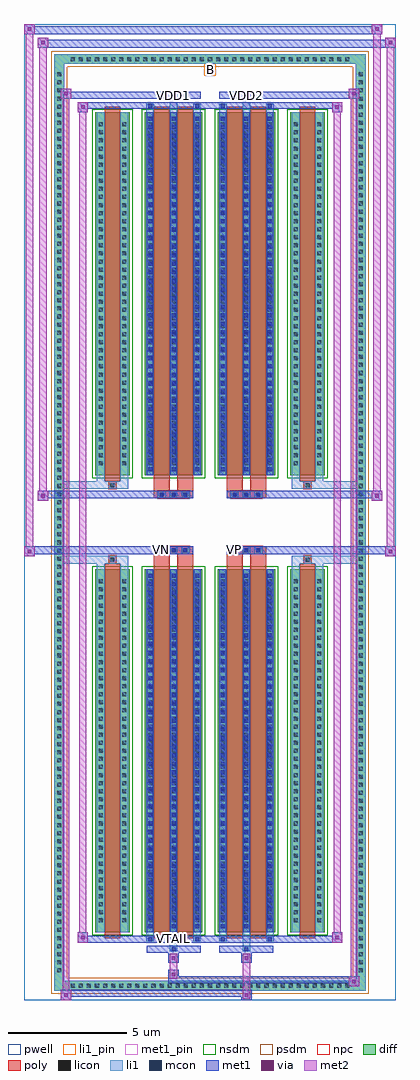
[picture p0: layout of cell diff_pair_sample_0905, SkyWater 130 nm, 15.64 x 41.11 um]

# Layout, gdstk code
import gdstk
lib = gdstk.Library(unit=1e-6, precision=5e-09)
def R(c, l, rs):  # rectangles x0, y0, x1, y1
    for r in rs: c.add(gdstk.rectangle(r[:2], r[2:], *l))
def A(c, l, x, y, w, h, nx, ny, dx, dy):  # array of equal rectangles
    R(c, l, [(x+i*dx, y+j*dy, x+i*dx+w, y+j*dy+h) for i in range(nx) for j in range(ny)])
def P(c, l, *ps):  # polygons
    for p in ps: c.add(gdstk.Polygon(p, *l))
pwell = (64, 44)
diff = (65, 20)
poly = (66, 20)
licon = (66, 44)
li1_pin = (67, 16)
li1 = (67, 20)
mcon = (67, 44)
met1_pin = (68, 16)
met1 = (68, 20)
via = (68, 44)
met2 = (69, 20)
nsdm = (93, 44)
psdm = (94, 20)
npc = (95, 20)

diff_pair_sample_0905 = lib.new_cell('diff_pair_sample_0905')
R(diff_pair_sample_0905, pwell, [(-7.82,-20.12,7.82,20.99), (-5.14,-18.31,-0.01,-0.805), (0.01,-18.31,5.14,-0.805), (-5.14,0.805,-0.01,18.31), (0.01,0.805,5.14,18.31)])
A(diff_pair_sample_0905, diff, -5.985, -19.72, 0.41, 0.41, 35, 2, 0.34, 39.03)
A(diff_pair_sample_0905, diff, -6.55, -19.075, 0.41, 0.41, 1, 112, 0, 0.34)
A(diff_pair_sample_0905, diff, 6.14, -19.075, 0.41, 0.41, 1, 112, 0, 0.34)
R(diff_pair_sample_0905, diff, [(-5.985,-19.72,5.985,-19.31), (-6.55,-19.075,-6.14,19.075), (6.14,-19.075,6.55,19.075), (-4.83,-17.265,-3.39,-1.985), (-2.75,-17.265,-0.32,-1.985), (0.32,-17.265,2.75,-1.985), (3.39,-17.265,4.83,-1.985), (-4.83,1.985,-3.39,17.265), (-2.75,1.985,-0.32,17.265), (0.32,1.985,2.75,17.265), (3.39,1.985,4.83,17.265), (-5.985,19.31,5.985,19.72)])
P(diff_pair_sample_0905, diff, [(6.55,19.72),(-6.55,19.72),(-6.55,-19.31),(-6.14,-19.31),(-6.14,19.31),(6.14,19.31),(6.14,-19.31),(-6.14,-19.31),(-6.55,-19.31),(-6.55,-19.72),(6.55,-19.72)])
A(diff_pair_sample_0905, poly, -2.2, -1.335, 0.33, 0.33, 3, 2, 0.5, 2.34)
A(diff_pair_sample_0905, poly, 0.87, -1.335, 0.33, 0.33, 3, 2, 0.5, 2.34)
R(diff_pair_sample_0905, poly, [(-4.44,-17.515,-3.78,-1.735), (-2.36,-17.515,-1.7,-1.735), (-1.37,-17.515,-0.71,-1.735), (0.71,-17.515,1.37,-1.735), (1.7,-17.515,2.36,-1.735), (3.78,-17.515,4.44,-1.735), (-4.275,-1.735,-3.945,-1.405), (-4.275,-1.735,-3.945,-1.405), (-2.36,-1.735,-1.7,-1.335), (-1.37,-1.735,-0.71,-1.335), (0.71,-1.735,1.37,-1.335), (1.7,-1.735,2.36,-1.335), (3.945,-1.735,4.275,-1.405), (3.945,-1.735,4.275,-1.405), (-2.36,-1.335,-0.71,-1.005), (0.71,-1.335,2.36,-1.005), (-2.36,1.005,-0.71,1.335), (0.71,1.005,2.36,1.335), (-2.36,1.335,-1.7,1.735), (-1.37,1.335,-0.71,1.735), (0.71,1.335,1.37,1.735), (1.7,1.335,2.36,1.735), (-4.275,1.405,-3.945,1.735), (-4.275,1.405,-3.945,1.735), (3.945,1.405,4.275,1.735), (3.945,1.405,4.275,1.735), (-4.44,1.735,-3.78,17.515), (-2.36,1.735,-1.7,17.515), (-1.37,1.735,-0.71,17.515), (0.71,1.735,1.37,17.515), (1.7,1.735,2.36,17.515), (3.78,1.735,4.44,17.515)])
A(diff_pair_sample_0905, licon, -5.865, -19.6, 0.17, 0.17, 35, 2, 0.34, 39.03)
A(diff_pair_sample_0905, licon, -6.43, -18.955, 0.17, 0.17, 1, 112, 0, 0.34)
A(diff_pair_sample_0905, licon, 6.26, -18.955, 0.17, 0.17, 1, 112, 0, 0.34)
A(diff_pair_sample_0905, licon, -4.69, -16.85, 0.17, 0.17, 1, 43, 0, 0.34)
A(diff_pair_sample_0905, licon, -3.7, -16.85, 0.17, 0.17, 1, 43, 0, 0.34)
A(diff_pair_sample_0905, licon, -2.61, -16.85, 0.17, 0.17, 3, 43, 0.99, 0.34)
A(diff_pair_sample_0905, licon, 0.46, -16.85, 0.17, 0.17, 3, 43, 0.99, 0.34)
A(diff_pair_sample_0905, licon, 3.53, -16.85, 0.17, 0.17, 1, 43, 0, 0.34)
A(diff_pair_sample_0905, licon, 4.52, -16.85, 0.17, 0.17, 1, 43, 0, 0.34)
A(diff_pair_sample_0905, licon, -2.12, -1.255, 0.17, 0.17, 3, 2, 0.5, 2.34)
A(diff_pair_sample_0905, licon, 0.95, -1.255, 0.17, 0.17, 3, 2, 0.5, 2.34)
A(diff_pair_sample_0905, licon, -4.69, 2.4, 0.17, 0.17, 1, 43, 0, 0.34)
A(diff_pair_sample_0905, licon, -3.7, 2.4, 0.17, 0.17, 1, 43, 0, 0.34)
A(diff_pair_sample_0905, licon, -2.61, 2.4, 0.17, 0.17, 3, 43, 0.99, 0.34)
A(diff_pair_sample_0905, licon, 0.46, 2.4, 0.17, 0.17, 3, 43, 0.99, 0.34)
A(diff_pair_sample_0905, licon, 3.53, 2.4, 0.17, 0.17, 1, 43, 0, 0.34)
A(diff_pair_sample_0905, licon, 4.52, 2.4, 0.17, 0.17, 1, 43, 0, 0.34)
R(diff_pair_sample_0905, licon, [(-4.195,-1.655,-4.025,-1.485), (4.025,-1.655,4.195,-1.485), (-4.195,1.485,-4.025,1.655), (4.025,1.485,4.195,1.655)])
R(diff_pair_sample_0905, li1_pin, [(-0.25,18.81,0.25,19.31)])
A(diff_pair_sample_0905, li1, -5.945, -19.68, 0.33, 0.33, 35, 2, 0.34, 39.03)
A(diff_pair_sample_0905, li1, -6.51, -19.035, 0.33, 0.33, 1, 112, 0, 0.34)
A(diff_pair_sample_0905, li1, 6.18, -19.035, 0.33, 0.33, 1, 112, 0, 0.34)
A(diff_pair_sample_0905, li1, -2.69, -17.265, 0.33, 15.28, 3, 2, 0.99, 19.25)
A(diff_pair_sample_0905, li1, 0.38, -17.265, 0.33, 15.28, 3, 2, 0.99, 19.25)
A(diff_pair_sample_0905, li1, -2.61, -17.09, 0.17, 0.17, 3, 42, 0.99, 0.36)
A(diff_pair_sample_0905, li1, -2.61, -17.09, 0.17, 14.93, 3, 2, 0.99, 19.25)
A(diff_pair_sample_0905, li1, 0.46, -17.09, 0.17, 0.17, 3, 42, 0.99, 0.36)
A(diff_pair_sample_0905, li1, 0.46, -17.09, 0.17, 14.93, 3, 2, 0.99, 19.25)
A(diff_pair_sample_0905, li1, -4.77, -16.93, 0.33, 0.33, 1, 43, 0, 0.34)
A(diff_pair_sample_0905, li1, -3.78, -16.93, 0.33, 0.33, 1, 43, 0, 0.34)
A(diff_pair_sample_0905, li1, -2.69, -16.93, 0.33, 0.33, 3, 43, 0.99, 0.34)
A(diff_pair_sample_0905, li1, 0.38, -16.93, 0.33, 0.33, 3, 43, 0.99, 0.34)
A(diff_pair_sample_0905, li1, 3.45, -16.93, 0.33, 0.33, 1, 43, 0, 0.34)
A(diff_pair_sample_0905, li1, 4.44, -16.93, 0.33, 0.33, 1, 43, 0, 0.34)
A(diff_pair_sample_0905, li1, -2.2, -1.335, 0.33, 0.33, 3, 2, 0.5, 2.34)
A(diff_pair_sample_0905, li1, 0.87, -1.335, 0.33, 0.33, 3, 2, 0.5, 2.34)
A(diff_pair_sample_0905, li1, -2.61, 2.16, 0.17, 0.17, 3, 42, 0.99, 0.36)
A(diff_pair_sample_0905, li1, 0.46, 2.16, 0.17, 0.17, 3, 42, 0.99, 0.36)
A(diff_pair_sample_0905, li1, -4.77, 2.32, 0.33, 0.33, 1, 43, 0, 0.34)
A(diff_pair_sample_0905, li1, -3.78, 2.32, 0.33, 0.33, 1, 43, 0, 0.34)
A(diff_pair_sample_0905, li1, -2.69, 2.32, 0.33, 0.33, 3, 43, 0.99, 0.34)
A(diff_pair_sample_0905, li1, 0.38, 2.32, 0.33, 0.33, 3, 43, 0.99, 0.34)
A(diff_pair_sample_0905, li1, 3.45, 2.32, 0.33, 0.33, 1, 43, 0, 0.34)
A(diff_pair_sample_0905, li1, 4.44, 2.32, 0.33, 0.33, 1, 43, 0, 0.34)
R(diff_pair_sample_0905, li1, [(-6.55,-19.72,-6.14,-19.31), (-6.55,-19.72,-6.14,-19.31), (-6.14,-19.72,6.14,-19.31), (6.14,-19.72,6.55,-19.31), (6.14,-19.72,6.55,-19.31), (-6.55,-19.31,-6.14,19.31), (6.14,-19.31,6.55,19.31), (-1.7,-18.07,-1.37,-17.265), (-1.62,-18.07,-1.45,-17.9), (1.37,-18.07,1.7,-17.265), (1.45,-18.07,1.62,-17.9), (-2.69,-17.64,-2.36,-17.265), (-2.61,-17.64,-2.44,-17.47), (-0.71,-17.64,-0.38,-17.265), (-0.63,-17.64,-0.46,-17.47), (0.38,-17.64,0.71,-17.265), (0.46,-17.64,0.63,-17.47), (2.36,-17.64,2.69,-17.265), (2.44,-17.64,2.61,-17.47), (-4.77,-17.265,-4.44,-1.985), (-3.78,-17.265,-3.45,-1.985), (3.45,-17.265,3.78,-1.985), (4.44,-17.265,4.77,-1.985), (-4.77,-1.985,-4.44,-1.405), (-3.78,-1.985,-3.45,-1.405), (3.45,-1.985,3.78,-1.405), (4.44,-1.985,4.77,-1.405), (-6.55,-1.735,-4.275,-1.405), (-4.77,-1.735,-4.275,-1.405), (-4.275,-1.735,-3.945,-1.405), (-3.945,-1.735,-3.45,-1.405), (3.45,-1.735,3.945,-1.405), (3.945,-1.735,4.275,-1.405), (3.945,-1.735,6.55,-1.405), (4.275,-1.735,4.77,-1.405), (-6.55,1.405,-4.275,1.735), (-4.77,1.405,-4.275,1.735), (-4.77,1.405,-4.44,1.985), (-4.275,1.405,-3.945,1.735), (-3.945,1.405,-3.45,1.735), (-3.78,1.405,-3.45,1.985), (3.45,1.405,3.945,1.735), (3.45,1.405,3.78,1.985), (3.945,1.405,4.275,1.735), (3.945,1.405,6.55,1.735), (4.275,1.405,4.77,1.735), (4.44,1.405,4.77,1.985), (-4.77,1.985,-4.44,17.265), (-3.78,1.985,-3.45,17.265), (3.45,1.985,3.78,17.265), (4.44,1.985,4.77,17.265), (-2.69,17.265,-2.36,17.64), (-1.7,17.265,-1.37,18.07), (-0.71,17.265,-0.38,17.64), (0.38,17.265,0.71,17.64), (1.37,17.265,1.7,18.07), (2.36,17.265,2.69,17.64), (-2.61,17.47,-2.44,17.64), (-0.63,17.47,-0.46,17.64), (0.46,17.47,0.63,17.64), (2.44,17.47,2.61,17.64), (-1.62,17.9,-1.45,18.07), (1.45,17.9,1.62,18.07), (-6.55,19.31,-6.14,19.72), (-6.55,19.31,-6.14,19.72), (-6.14,19.31,6.14,19.72), (6.14,19.31,6.55,19.72), (6.14,19.31,6.55,19.72)])
A(diff_pair_sample_0905, mcon, -2.61, -17.09, 0.17, 0.17, 3, 42, 0.99, 0.36)
A(diff_pair_sample_0905, mcon, 0.46, -17.09, 0.17, 0.17, 3, 42, 0.99, 0.36)
A(diff_pair_sample_0905, mcon, -2.12, -1.255, 0.17, 0.17, 3, 2, 0.5, 2.34)
A(diff_pair_sample_0905, mcon, 0.95, -1.255, 0.17, 0.17, 3, 2, 0.5, 2.34)
A(diff_pair_sample_0905, mcon, -2.61, 2.16, 0.17, 0.17, 3, 42, 0.99, 0.36)
A(diff_pair_sample_0905, mcon, 0.46, 2.16, 0.17, 0.17, 3, 42, 0.99, 0.36)
R(diff_pair_sample_0905, mcon, [(-1.62,-18.07,-1.45,-17.9), (1.45,-18.07,1.62,-17.9), (-2.61,-17.64,-2.44,-17.47), (-0.63,-17.64,-0.46,-17.47), (0.46,-17.64,0.63,-17.47), (2.44,-17.64,2.61,-17.47), (-2.61,17.47,-2.44,17.64), (-0.63,17.47,-0.46,17.64), (0.46,17.47,0.63,17.64), (2.44,17.47,2.61,17.64), (-1.62,17.9,-1.45,18.07), (1.45,17.9,1.62,18.07)])
R(diff_pair_sample_0905, met1_pin, [(-1.67,-17.68,-1.4,-17.41), (-2.17,-1.295,-1.9,-1.025), (0.9,-1.295,1.17,-1.025), (-1.67,17.86,-1.4,18.13), (1.4,17.86,1.67,18.13)])
A(diff_pair_sample_0905, met1, -2.67, -17.265, 0.29, 15.28, 3, 2, 0.99, 19.25)
A(diff_pair_sample_0905, met1, 0.4, -17.265, 0.29, 15.28, 3, 2, 0.99, 19.25)
A(diff_pair_sample_0905, met1, -2.67, -17.15, 0.29, 0.29, 3, 42, 0.99, 0.36)
A(diff_pair_sample_0905, met1, 0.4, -17.15, 0.29, 0.29, 3, 42, 0.99, 0.36)
A(diff_pair_sample_0905, met1, -2.18, -1.315, 0.29, 0.29, 3, 2, 0.5, 2.34)
A(diff_pair_sample_0905, met1, 0.89, -1.315, 0.29, 0.29, 3, 2, 0.5, 2.34)
A(diff_pair_sample_0905, met1, -2.67, 2.1, 0.29, 0.29, 3, 42, 0.99, 0.36)
A(diff_pair_sample_0905, met1, 0.4, 2.1, 0.29, 0.29, 3, 42, 0.99, 0.36)
R(diff_pair_sample_0905, met1, [(-6.28,-20.12,-5.85,-19.69), (1.32,-20.12,1.75,-19.69), (-6.28,-19.98,1.75,-19.69), (5.85,-19.55,6.28,-19.12), (-1.75,-19.41,6.28,-19.12), (-1.75,-19.27,-1.32,-18.84), (-1.75,-18.56,-1.32,-18.13), (1.32,-18.56,1.75,-18.13), (-2.67,-18.13,-0.4,-17.84), (-1.68,-18.13,-1.39,-17.84), (0.4,-18.13,2.67,-17.84), (1.39,-18.13,1.68,-17.84), (-5.57,-17.7,-5.14,-17.27), (-5.57,-17.7,-2.67,-17.41), (-2.67,-17.7,-2.38,-17.41), (-2.67,-17.7,-0.4,-17.41), (-0.69,-17.7,-0.4,-17.41), (-0.4,-17.7,0.4,-17.41), (0.4,-17.7,0.69,-17.41), (0.4,-17.7,2.67,-17.41), (2.38,-17.7,2.67,-17.41), (2.67,-17.7,5.57,-17.41), (5.14,-17.7,5.57,-17.27), (-7.82,-1.435,-7.39,-1.005), (7.39,-1.435,7.82,-1.005), (-7.82,-1.335,-0.71,-1.005), (-2.36,-1.335,-0.71,-1.005), (0.71,-1.335,2.36,-1.005), (0.71,-1.335,7.82,-1.005), (-7.25,0.905,-6.82,1.335), (6.82,0.905,7.25,1.335), (-7.25,1.005,-2.36,1.335), (-2.36,1.005,-0.71,1.335), (0.71,1.005,2.36,1.335), (2.36,1.005,7.25,1.335), (-5.57,17.27,-5.14,17.7), (5.14,17.27,5.57,17.7), (-5.57,17.41,-2.67,17.7), (-2.67,17.41,-2.38,17.7), (-2.67,17.41,-0.4,17.7), (-0.69,17.41,-0.4,17.7), (-0.4,17.41,0.4,17.7), (0.4,17.41,0.69,17.7), (0.4,17.41,2.67,17.7), (2.38,17.41,2.67,17.7), (2.67,17.41,5.57,17.7), (-6.28,17.84,-5.85,18.27), (-6.28,17.84,-2.67,18.13), (-2.67,17.84,-0.4,18.13), (-1.68,17.84,-1.39,18.13), (0.4,17.84,2.67,18.13), (1.39,17.84,1.68,18.13), (2.67,17.84,6.28,18.13), (5.85,17.84,6.28,18.27), (-7.25,19.99,-6.82,20.42), (-7.25,19.99,-5.14,20.32), (-5.14,19.99,5.14,20.32), (5.14,19.99,7.82,20.32), (7.39,19.99,7.82,20.42), (-7.82,20.56,-7.39,20.99), (-7.82,20.56,-5.14,20.89), (-5.14,20.56,5.14,20.89), (5.14,20.56,7.25,20.89), (6.82,20.56,7.25,20.99)])
R(diff_pair_sample_0905, via, [(-6.14,-19.98,-5.99,-19.83), (1.46,-19.98,1.61,-19.83), (5.99,-19.41,6.14,-19.26), (-1.61,-19.13,-1.46,-18.98), (-1.61,-18.42,-1.46,-18.27), (1.46,-18.42,1.61,-18.27), (-5.43,-17.56,-5.28,-17.41), (5.28,-17.56,5.43,-17.41), (-7.68,-1.295,-7.53,-1.145), (7.53,-1.295,7.68,-1.145), (-7.11,1.045,-6.96,1.195), (6.96,1.045,7.11,1.195), (-5.43,17.41,-5.28,17.56), (5.28,17.41,5.43,17.56), (-6.14,17.98,-5.99,18.13), (5.99,17.98,6.14,18.13), (-7.11,20.13,-6.96,20.28), (7.53,20.13,7.68,20.28), (-7.68,20.7,-7.53,20.85), (6.96,20.7,7.11,20.85)])
R(diff_pair_sample_0905, met2, [(-6.28,-20.12,-5.85,-19.69), (-6.21,-20.12,-5.92,18.27), (-5.92,-20.12,-5.85,-19.69), (-6.23,-20.07,-5.9,-19.74), (1.37,-20.07,1.7,-19.74), (1.37,-19.74,1.7,-18.51), (5.85,-19.55,6.28,-19.12), (5.92,-19.55,6.21,18.27), (6.21,-19.55,6.28,-19.12), (5.9,-19.5,6.23,-19.17), (-1.7,-19.22,-1.37,-18.89), (-1.7,-18.89,-1.37,-18.51), (-1.7,-18.51,-1.37,-18.18), (1.37,-18.51,1.7,-18.18), (-5.57,-17.7,-5.14,-17.27), (-5.5,-17.7,-5.21,17.7), (-5.21,-17.7,-5.14,-17.27), (5.14,-17.7,5.57,-17.27), (5.21,-17.7,5.5,17.7), (5.5,-17.7,5.57,-17.27), (-5.52,-17.65,-5.19,-17.32), (5.19,-17.65,5.52,-17.32), (-7.82,-1.435,-7.39,-1.005), (-7.77,-1.435,-7.44,20.99), (-7.44,-1.435,-7.39,-1.005), (7.39,-1.435,7.82,-1.005), (7.44,-1.435,7.77,20.42), (7.77,-1.435,7.82,-1.005), (-7.77,-1.385,-7.44,-1.055), (7.44,-1.385,7.77,-1.055), (-7.25,0.905,-6.82,1.335), (-7.2,0.905,-6.87,20.42), (-6.87,0.905,-6.82,1.335), (6.82,0.905,7.25,1.335), (6.87,0.905,7.2,20.99), (7.2,0.905,7.25,1.335), (-7.2,0.955,-6.87,1.285), (6.87,0.955,7.2,1.285), (-5.57,17.27,-5.14,17.7), (-5.21,17.27,-5.14,17.7), (5.14,17.27,5.57,17.7), (5.5,17.27,5.57,17.7), (-5.52,17.32,-5.19,17.65), (5.19,17.32,5.52,17.65), (-6.28,17.84,-5.85,18.27), (-5.92,17.84,-5.85,18.27), (5.85,17.84,6.28,18.27), (6.21,17.84,6.28,18.27), (-6.23,17.89,-5.9,18.22), (5.9,17.89,6.23,18.22), (-7.25,19.99,-6.82,20.42), (-6.87,19.99,-6.82,20.42), (7.39,19.99,7.82,20.42), (7.77,19.99,7.82,20.42), (-7.2,20.04,-6.87,20.37), (7.44,20.04,7.77,20.37), (-7.82,20.56,-7.39,20.99), (-7.44,20.56,-7.39,20.99), (6.82,20.56,7.25,20.99), (7.2,20.56,7.25,20.99), (-7.77,20.61,-7.44,20.94), (6.87,20.61,7.2,20.94)])
R(diff_pair_sample_0905, nsdm, [(-4.96,-17.395,-3.26,-1.855), (-2.88,-17.395,-0.19,-1.855), (0.19,-17.395,2.88,-1.855), (3.26,-17.395,4.96,-1.855), (-4.96,1.855,-3.26,17.395), (-2.88,1.855,-0.19,17.395), (0.19,1.855,2.88,17.395), (3.26,1.855,4.96,17.395)])
P(diff_pair_sample_0905, psdm, [(6.68,19.85),(-6.68,19.85),(-6.68,-19.18),(-6.01,-19.18),(-6.01,19.18),(6.01,19.18),(6.01,-19.18),(-6.01,-19.18),(-6.68,-19.18),(-6.68,-19.85),(6.68,-19.85)])
A(diff_pair_sample_0905, npc, -2.22, -1.355, 0.37, 0.37, 3, 2, 0.5, 2.34)
A(diff_pair_sample_0905, npc, 0.85, -1.355, 0.37, 0.37, 3, 2, 0.5, 2.34)
R(diff_pair_sample_0905, npc, [(-4.295,-1.755,-3.925,-1.385), (3.925,-1.755,4.295,-1.385), (-2.22,-1.355,-1.35,-0.985), (-2.22,-1.355,-1.35,-0.985), (-1.72,-1.355,-0.85,-0.985), (-1.72,-1.355,-0.85,-0.985), (0.85,-1.355,1.72,-0.985), (0.85,-1.355,1.72,-0.985), (1.35,-1.355,2.22,-0.985), (1.35,-1.355,2.22,-0.985), (-2.22,0.985,-1.35,1.355), (-2.22,0.985,-1.35,1.355), (-1.72,0.985,-0.85,1.355), (-1.72,0.985,-0.85,1.355), (0.85,0.985,1.72,1.355), (0.85,0.985,1.72,1.355), (1.35,0.985,2.22,1.355), (1.35,0.985,2.22,1.355), (-4.295,1.385,-3.925,1.755), (3.925,1.385,4.295,1.755)])
diff_pair_sample_0905.add(gdstk.Label('VTAIL', (-1.535,-17.545), layer=68, texttype=5))
diff_pair_sample_0905.add(gdstk.Label('VN', (-2.035,-1.16), layer=68, texttype=5))
diff_pair_sample_0905.add(gdstk.Label('VP', (1.035,-1.16), layer=68, texttype=5))
diff_pair_sample_0905.add(gdstk.Label('B', (0,19.06), layer=67, texttype=5))
diff_pair_sample_0905.add(gdstk.Label('VDD2', (1.535,17.995), layer=68, texttype=5))
diff_pair_sample_0905.add(gdstk.Label('VDD1', (-1.535,17.995), layer=68, texttype=5))

lib.write_gds('diff_pair_sample_0905.gds')
